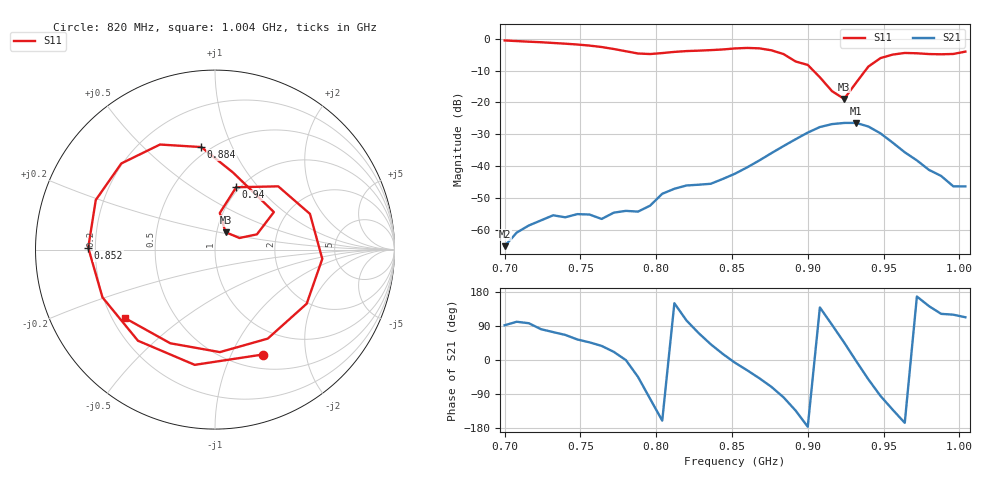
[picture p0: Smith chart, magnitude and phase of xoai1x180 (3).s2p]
# Hz S RI R 50
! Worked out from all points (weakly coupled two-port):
!   39 points, 700 MHz to 1.004 GHz, reference 50 ohm
!   highest |S21| = -26.43 dB at 932 MHz (marker M1); lowest = -65.2 dB at 700 MHz (marker M2)
!   lowest |S11| = -18.9 dB at 924 MHz (marker M3), VSWR 1.26, Z = 55.1 + j10.9 ohm
!   |S11| at or under -10 dB: 903.7 MHz to 937.9 MHz (34.24 MHz wide, 3.72 % of centre)
!   S12 and S22 are empty: the file has one direction only
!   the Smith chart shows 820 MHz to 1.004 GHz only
!   S11 on the Smith chart (normalised r, x): 820 MHz: 0.67, -1.33; 852 MHz: 0.17, +0.01; 884 MHz: 0.45, +0.77; 940 MHz: 0.96, +0.77; 1.004 GHz: 0.25, -0.32
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7e8  0.7623 0.5553  -1.6e-05 0.000551  0 0  0 0
7.24e8  0.8477 -0.2511  0.000212 0.00138  0 0  0 0
7.4e8  0.4571 -0.7036  0.000632 0.00144  0 0  0 0
7.56e8  -0.1924 -0.7594  0.00119 0.00126  0 0  0 0
7.72e8  -0.6638 -0.1962  0.00172 0.000681  0 0  0 0
7.8e8  -0.5956 0.2287  0.00198 -7.33e-06  0 0  0 0
7.88e8  -0.2436 0.5359  0.00137 -0.00135  0 0  0 0
7.96e8  0.2478 0.5211  -0.000517 -0.00233  0 0  0 0
8.04e8  0.5735 0.1681  -0.00345 -0.00126  0 0  0 0
8.2e8  0.2653 -0.5846  -0.00122 0.0048  0 0  0 0
8.36e8  -0.4292 -0.5077  0.00395 0.0035  0 0  0 0
8.52e8  -0.7063 0.0102  0.00753 -0.000952  0 0  0 0
8.68e8  -0.5217 0.4801  0.0082 -0.0091  0 0  0 0
8.84e8  -0.0763 0.5713  -0.00303 -0.0204  0 0  0 0
9e8  0.3282 0.2092  -0.0335 -0.00224  0 0  0 0
9.08e8  0.2337 0.085  -0.0309 0.0271  0 0  0 0
9.24e8  0.0585 0.0974  0.0331 0.0344  0 0  0 0
9.32e8  0.0267 0.2039  0.0476 -0.00262  0 0  0 0
9.4e8  0.1183 0.3474  0.0263 -0.0326  0 0  0 0
9.56e8  0.529 0.1991  -0.0154 -0.0176  0 0  0 0
9.8e8  0.2937 -0.496  -0.00687 0.00534  0 0  0 0
1.004e9  -0.5011 -0.3817  -0.00186 0.00442  0 0  0 0
